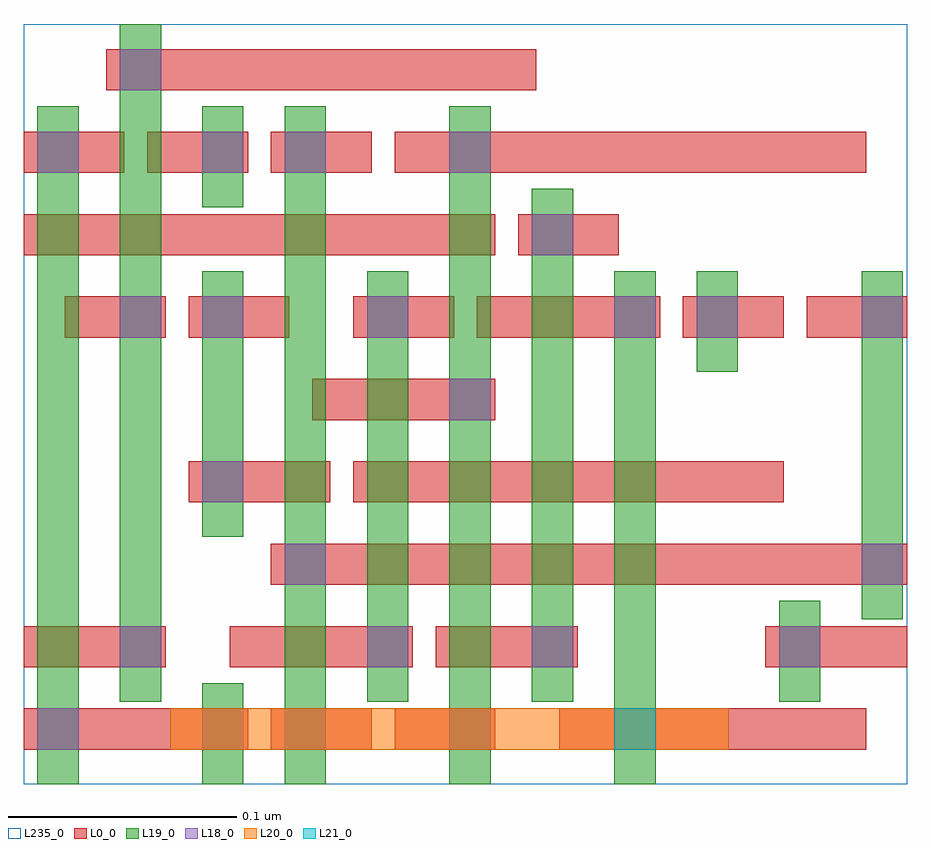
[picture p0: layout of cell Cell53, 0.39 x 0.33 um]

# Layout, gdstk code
import gdstk
lib = gdstk.Library(unit=1e-6, precision=2.5e-10)
def R(c, l, rs):  # rectangles x0, y0, x1, y1
    for r in rs: c.add(gdstk.rectangle(r[:2], r[2:], *l))
def A(c, l, x, y, w, h, nx, ny, dx, dy):  # array of equal rectangles
    R(c, l, [(x+i*dx, y+j*dy, x+i*dx+w, y+j*dy+h) for i in range(nx) for j in range(ny)])
L0_0 = (0, 0)
L18_0 = (18, 0)
L19_0 = (19, 0)
L20_0 = (20, 0)
L21_0 = (21, 0)
L235_0 = (235, 0)

cell53 = lib.new_cell('Cell53')
A(cell53, L0_0, 0.004, 0.251, 0.044, 0.018, 3, 1, 0.054, 0)
R(cell53, L0_0, [(0.004,-0.001,0.102,0.017), (0.112,-0.001,0.156,0.017), (0.166,-0.001,0.21,0.017), (0.238,-0.001,0.372,0.017), (0.004,0.035,0.066,0.053), (0.094,0.035,0.174,0.053), (0.184,0.035,0.246,0.053), (0.328,0.035,0.39,0.053), (0.112,0.071,0.39,0.089), (0.076,0.107,0.138,0.125), (0.148,0.107,0.336,0.125), (0.13,0.143,0.21,0.161), (0.022,0.179,0.066,0.197), (0.076,0.179,0.12,0.197), (0.148,0.179,0.192,0.197), (0.202,0.179,0.282,0.197), (0.292,0.179,0.336,0.197), (0.346,0.179,0.39,0.197), (0.004,0.215,0.21,0.233), (0.22,0.215,0.264,0.233), (0.166,0.251,0.372,0.269), (0.04,0.287,0.228,0.305)])
A(cell53, L18_0, 0.082, 0.107, 0.018, 0.018, 1, 3, 0, 0.072)
R(cell53, L18_0, [(0.01,-0.001,0.028,0.017), (0.082,-0.001,0.1,0.017), (0.118,-0.001,0.136,0.017), (0.19,-0.001,0.208,0.017), (0.046,0.035,0.064,0.053), (0.154,0.035,0.172,0.053), (0.226,0.035,0.244,0.053), (0.334,0.035,0.352,0.053), (0.118,0.071,0.136,0.089), (0.37,0.071,0.388,0.089), (0.19,0.143,0.208,0.161), (0.046,0.179,0.064,0.197), (0.154,0.179,0.172,0.197), (0.262,0.179,0.28,0.197), (0.298,0.179,0.316,0.197), (0.37,0.179,0.388,0.197), (0.226,0.215,0.244,0.233), (0.01,0.251,0.028,0.269), (0.118,0.251,0.136,0.269), (0.19,0.251,0.208,0.269), (0.046,0.287,0.064,0.305)])
R(cell53, L19_0, [(0.01,-0.016,0.028,0.28), (0.082,-0.016,0.1,0.028), (0.118,-0.016,0.136,0.28), (0.19,-0.016,0.208,0.28), (0.262,-0.016,0.28,0.208), (0.046,0.02,0.064,0.316), (0.154,0.02,0.172,0.208), (0.226,0.02,0.244,0.244), (0.334,0.02,0.352,0.064), (0.37,0.056,0.388,0.208), (0.082,0.092,0.1,0.208), (0.298,0.164,0.316,0.208), (0.082,0.236,0.1,0.28)])
R(cell53, L20_0, [(0.068,-0.001,0.312,0.017)])
R(cell53, L21_0, [(0.262,-0.001,0.28,0.017)])
R(cell53, L235_0, [(0.004,-0.016,0.39,0.316)])

lib.write_gds('Cell53.gds')
